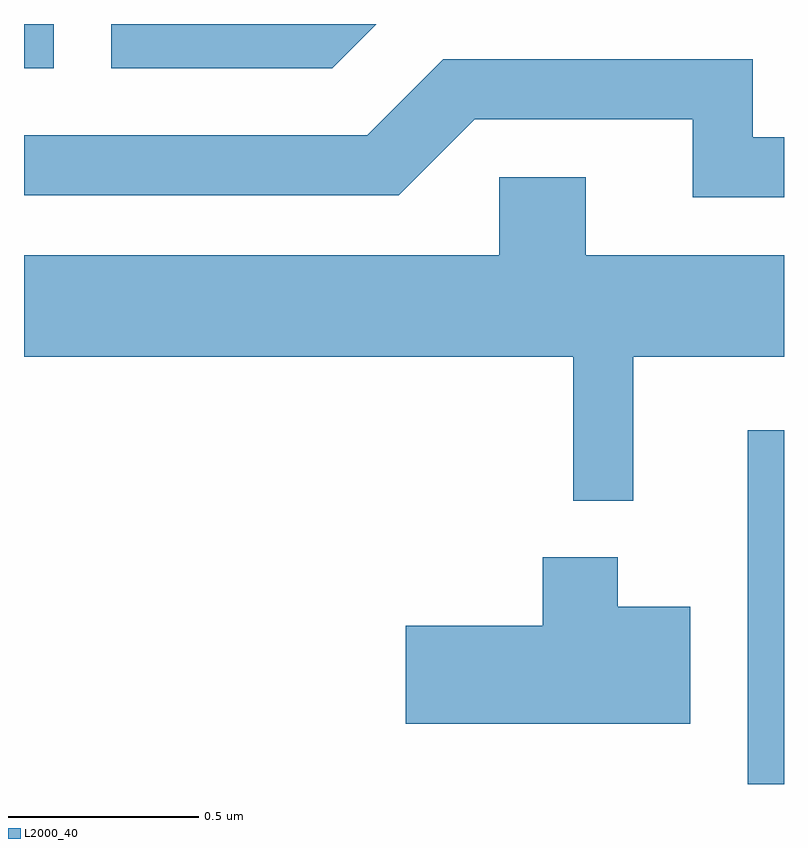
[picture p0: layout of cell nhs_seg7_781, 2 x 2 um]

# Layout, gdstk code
import gdstk
lib = gdstk.Library(unit=1e-6, precision=1e-09)
def R(c, l, rs):  # rectangles x0, y0, x1, y1
    for r in rs: c.add(gdstk.rectangle(r[:2], r[2:], *l))
def P(c, l, *ps):  # polygons
    for p in ps: c.add(gdstk.Polygon(p, *l))
L2000_40 = (2000, 40)

nhs_seg7_781 = lib.new_cell('nhs_seg7_781')
R(nhs_seg7_781, L2000_40, [(192.516,1764.252,192.611,1765.183), (190.611,1766.136,190.689,1766.252)])
P(nhs_seg7_781, L2000_40, [(191.538,1766.252),(190.841,1766.252),(190.841,1766.136),(191.422,1766.136)],
  [(192.611,1765.954),(192.529,1765.954),(192.529,1766.159),(191.714,1766.159),(191.514,1765.959),(190.611,1765.959),(190.611,1765.801),(191.597,1765.801),(191.797,1766.001),(192.371,1766.001),(192.371,1765.796),(192.611,1765.796)],
  [(192.214,1765.376),(192.611,1765.376),(192.611,1765.644),(192.089,1765.644),(192.089,1765.849),(191.861,1765.849),(191.861,1765.644),(190.611,1765.644),(190.611,1765.376),(192.056,1765.376),(192.056,1764.998),(192.214,1764.998)],
  [(192.364,1764.719),(192.174,1764.719),(192.174,1764.849),(191.976,1764.849),(191.976,1764.669),(191.616,1764.669),(191.616,1764.411),(192.364,1764.411)])

lib.write_gds('nhs_seg7_781.gds')
